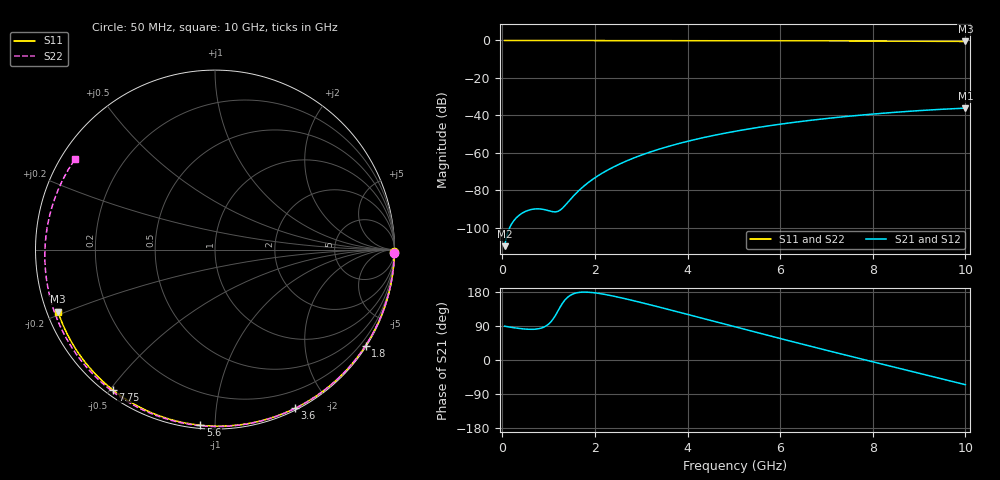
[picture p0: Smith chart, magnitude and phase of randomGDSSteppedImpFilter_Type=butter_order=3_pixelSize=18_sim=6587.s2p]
! freq	dB(S11)	phase(S11)	dB(S12)	phase(S12)
!  dB(S21)	phase(S21)	dB(S22)	phase(S22)
!S-par simulation data
#  GHz  S  DB  R 50
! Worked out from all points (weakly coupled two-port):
!   200 points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, 50 MHz to 10 GHz, reference 50 ohm
!   highest |S21| = -36.11 dB at 10 GHz (marker M1); lowest = -109.7 dB at 50 MHz (marker M2)
!   lowest |S11| = -0.5 dB at 10 GHz (marker M3), VSWR 32.63, Z = 1.59 - j9.51 ohm
!   |S11| at or under -10 dB: nowhere
!   |S22| runs from -0.6 to 0.0 dB; largest |S21 - S12| = 0
!   S11 on the Smith chart (normalised r, x): 50 MHz: open; 1.8 GHz: 0.03, -3.43; 3.6 GHz: 0.02, -1.62; 5.6 GHz: 0.02, -0.92; 7.75 GHz: 0.02, -0.51; 10 GHz: 0.03, -0.19
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0.05  -0.00 -0.9  -109.74 89.2  -109.74 89.2  -0.00 -1.2
0.85  -0.02 -15.5  -89.98 84.6  -89.98 84.6  -0.02 -19.4
1.65  -0.04 -29.8  -80.16 178.2  -80.16 178.2  -0.05 -37.4
1.75  -0.04 -31.6  -77.93 179.1  -77.93 179.1  -0.05 -39.6
1.8  -0.04 -32.5  -76.91 179.1  -76.91 179.1  -0.05 -40.7
2.1  -0.05 -37.8  -71.66 175.4  -71.66 175.4  -0.06 -47.2
2.45  -0.06 -43.8  -66.91 167.3  -66.91 167.3  -0.07 -54.8
2.9  -0.07 -51.5  -62.11 154.6  -62.11 154.6  -0.08 -64.4
3.4  -0.08 -59.9  -57.88 139.3  -57.88 139.3  -0.10 -74.9
3.6  -0.08 -63.2  -56.42 133.0  -56.42 133.0  -0.11 -79.0
4.3  -0.11 -74.6  -52.06 110.7  -52.06 110.7  -0.13 -93.2
5.05  -0.13 -86.4  -48.36 86.8  -48.36 86.8  -0.17 -108.0
5.6  -0.16 -94.8  -46.11 69.3  -46.11 69.3  -0.20 -118.8
6.15  -0.18 -103.0  -44.16 52.0  -44.16 52.0  -0.23 -129.5
6.7  -0.22 -111.1  -42.47 34.9  -42.47 34.9  -0.27 -140.3
7.25  -0.25 -119.0  -40.99 18.0  -40.99 18.0  -0.32 -151.2
7.75  -0.29 -126.2  -39.81 2.8  -39.81 2.8  -0.37 -161.3
8.35  -0.35 -134.7  -38.57 -15.4  -38.57 -15.4  -0.44 -173.9
8.8  -0.39 -141.1  -37.76 -28.9  -37.76 -28.9  -0.49 176.2
9.2  -0.43 -146.9  -37.12 -41.0  -37.12 -41.0  -0.54 167.0
9.6  -0.48 -152.6  -36.57 -53.1  -36.57 -53.1  -0.59 157.4
10  -0.53 -158.4  -36.11 -65.2  -36.11 -65.2  -0.64 147.2
